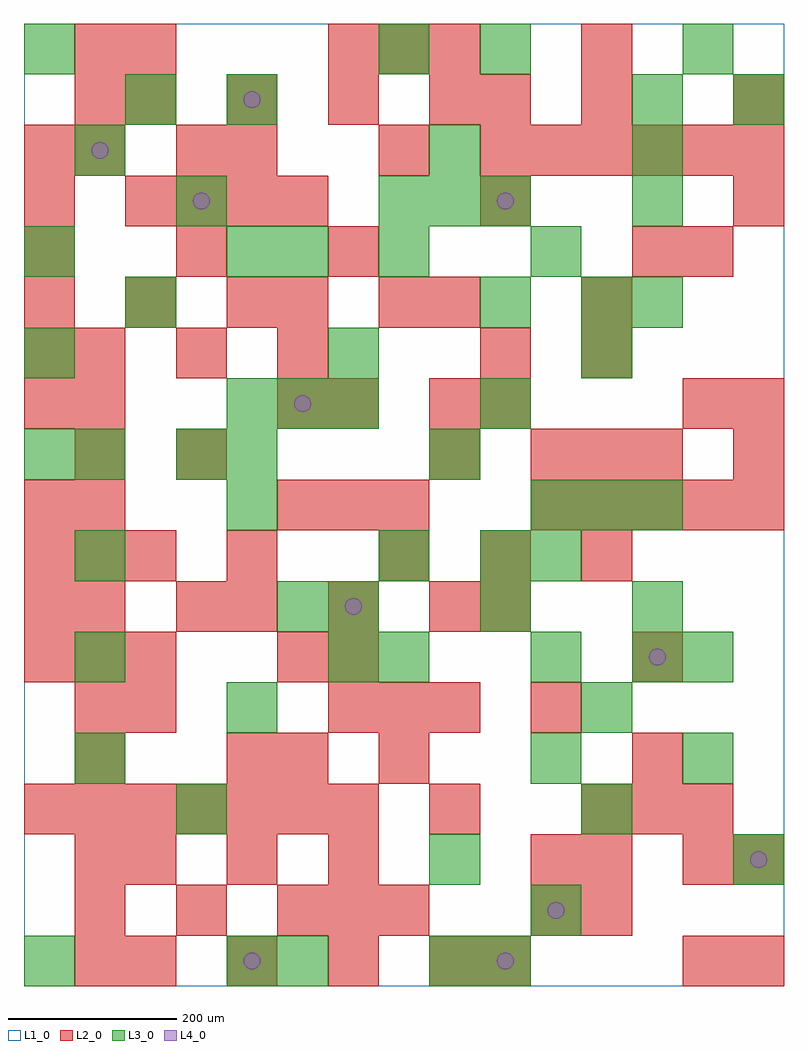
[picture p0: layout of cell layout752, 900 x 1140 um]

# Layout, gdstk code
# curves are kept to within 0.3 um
import gdstk
lib = gdstk.Library(unit=1e-6, precision=1e-09)
def R(c, l, rs):  # rectangles x0, y0, x1, y1
    for r in rs: c.add(gdstk.rectangle(r[:2], r[2:], *l))
def A(c, l, x, y, w, h, nx, ny, dx, dy):  # array of equal rectangles
    R(c, l, [(x+i*dx, y+j*dy, x+i*dx+w, y+j*dy+h) for i in range(nx) for j in range(ny)])
def P(c, l, *ps):  # polygons
    for p in ps: c.add(gdstk.Polygon(p, *l))
L1_0 = (1, 0)
L2_0 = (2, 0)
L3_0 = (3, 0)
L4_0 = (4, 0)

layout752 = lib.new_cell('layout752')
R(layout752, L1_0, [(0,0,900,1140)])
A(layout752, L2_0, 60, 0, 60, 60, 1, 3, 0, 120)
A(layout752, L2_0, 120, 0, 60, 60, 4, 2, 120, 1020)
A(layout752, L2_0, 60, 60, 60, 60, 3, 2, 120, 660)
A(layout752, L2_0, 360, 60, 60, 60, 1, 3, 0, 300)
A(layout752, L2_0, 120, 120, 60, 60, 3, 1, 120, 0)
A(layout752, L2_0, 0, 180, 60, 60, 7, 1, 60, 0)
A(layout752, L2_0, 660, 180, 60, 60, 3, 1, 60, 0)
A(layout752, L2_0, 60, 300, 60, 60, 1, 3, 0, 120)
A(layout752, L2_0, 360, 300, 60, 60, 3, 2, 60, 780)
A(layout752, L2_0, 0, 360, 60, 60, 3, 2, 60, 120)
A(layout752, L2_0, 0, 420, 60, 60, 1, 3, 0, 120)
A(layout752, L2_0, 240, 420, 60, 60, 3, 1, 120, 0)
A(layout752, L2_0, 420, 480, 60, 60, 3, 1, 120, 0)
A(layout752, L2_0, 300, 540, 60, 60, 3, 1, 60, 0)
A(layout752, L2_0, 600, 540, 60, 60, 5, 1, 60, 0)
A(layout752, L2_0, 600, 600, 60, 60, 3, 1, 60, 0)
A(layout752, L2_0, 0, 780, 60, 60, 3, 1, 120, 0)
A(layout752, L2_0, 0, 840, 60, 60, 3, 1, 180, 0)
A(layout752, L2_0, 120, 900, 60, 60, 4, 1, 60, 0)
A(layout752, L2_0, 60, 960, 60, 60, 1, 3, 0, 60)
A(layout752, L2_0, 540, 960, 60, 60, 6, 1, 60, 0)
R(layout752, L2_0, [(540,0,600,60), (780,0,840,60), (840,0,900,60), (420,60,480,120), (600,60,660,120), (660,60,720,120), (600,120,660,180), (660,120,720,180), (780,120,840,180), (840,120,900,180), (480,180,540,240), (240,240,300,300), (300,240,360,300), (420,240,480,300), (720,240,780,300), (120,300,180,360), (600,300,660,360), (300,360,360,420), (720,360,780,420), (180,420,240,480), (540,420,600,480), (240,480,300,540), (60,600,120,660), (180,600,240,660), (480,600,540,660), (840,600,900,660), (60,660,120,720), (300,660,360,720), (480,660,540,720), (540,660,600,720), (780,660,840,720), (840,660,900,720), (0,720,60,780), (540,720,600,780), (660,720,720,780), (300,780,360,840), (420,780,480,840), (480,780,540,840), (660,780,720,840), (720,840,780,900), (780,840,840,900), (0,900,60,960), (540,900,600,960), (840,900,900,960), (0,960,60,1020), (180,960,240,1020), (240,960,300,1020), (420,960,480,1020), (540,1020,600,1080), (660,1020,720,1080), (840,1020,900,1080), (120,1080,180,1140), (660,1080,720,1140)])
A(layout752, L3_0, 300, 0, 60, 60, 1, 3, 0, 420)
A(layout752, L3_0, 60, 240, 60, 60, 1, 4, 0, 120)
A(layout752, L3_0, 600, 240, 60, 60, 1, 3, 0, 120)
A(layout752, L3_0, 360, 420, 60, 60, 3, 1, 180, 0)
A(layout752, L3_0, 600, 540, 60, 60, 3, 1, 60, 0)
A(layout752, L3_0, 0, 600, 60, 60, 1, 3, 0, 120)
A(layout752, L3_0, 240, 660, 60, 60, 3, 1, 60, 0)
A(layout752, L3_0, 420, 900, 60, 60, 3, 1, 60, 0)
A(layout752, L3_0, 720, 900, 60, 60, 1, 3, 0, 60)
R(layout752, L3_0, [(0,0,60,60), (240,0,300,60), (480,0,540,60), (540,0,600,60), (600,60,660,120), (480,120,540,180), (840,120,900,180), (180,180,240,240), (660,180,720,240), (780,240,840,300), (240,300,300,360), (660,300,720,360), (360,360,420,420), (420,360,480,420), (720,360,780,420), (780,360,840,420), (420,480,480,540), (540,480,600,540), (240,540,300,600), (180,600,240,660), (240,600,300,660), (480,600,540,660), (540,660,600,720), (360,720,420,780), (660,720,720,780), (120,780,180,840), (540,780,600,840), (660,780,720,840), (720,780,780,840), (240,840,300,900), (420,840,480,900), (600,840,660,900), (180,900,240,960), (60,960,120,1020), (480,960,540,1020), (120,1020,180,1080), (240,1020,300,1080), (840,1020,900,1080), (0,1080,60,1140), (420,1080,480,1140), (540,1080,600,1140), (780,1080,840,1140)])
P(layout752, L4_0, [(100,990),(99.239,993.827),(97.071,997.071),(93.827,999.239),(90,1000),(86.173,999.239),(82.929,997.071),(80.761,993.827),(80,990),(80.761,986.173),(82.929,982.929),(86.173,980.761),(90,980),(93.827,980.761),(97.071,982.929),(99.239,986.173)],
  [(220,930),(219.239,933.827),(217.071,937.071),(213.827,939.239),(210,940),(206.173,939.239),(202.929,937.071),(200.761,933.827),(200,930),(200.761,926.173),(202.929,922.929),(206.173,920.761),(210,920),(213.827,920.761),(217.071,922.929),(219.239,926.173)],
  [(280,30),(279.239,33.827),(277.071,37.071),(273.827,39.239),(270,40),(266.173,39.239),(262.929,37.071),(260.761,33.827),(260,30),(260.761,26.173),(262.929,22.929),(266.173,20.761),(270,20),(273.827,20.761),(277.071,22.929),(279.239,26.173)],
  [(280,1050),(279.239,1053.827),(277.071,1057.071),(273.827,1059.239),(270,1060),(266.173,1059.239),(262.929,1057.071),(260.761,1053.827),(260,1050),(260.761,1046.173),(262.929,1042.929),(266.173,1040.761),(270,1040),(273.827,1040.761),(277.071,1042.929),(279.239,1046.173)],
  [(340,690),(339.239,693.827),(337.071,697.071),(333.827,699.239),(330,700),(326.173,699.239),(322.929,697.071),(320.761,693.827),(320,690),(320.761,686.173),(322.929,682.929),(326.173,680.761),(330,680),(333.827,680.761),(337.071,682.929),(339.239,686.173)],
  [(400,450),(399.239,453.827),(397.071,457.071),(393.827,459.239),(390,460),(386.173,459.239),(382.929,457.071),(380.761,453.827),(380,450),(380.761,446.173),(382.929,442.929),(386.173,440.761),(390,440),(393.827,440.761),(397.071,442.929),(399.239,446.173)],
  [(580,30),(579.239,33.827),(577.071,37.071),(573.827,39.239),(570,40),(566.173,39.239),(562.929,37.071),(560.761,33.827),(560,30),(560.761,26.173),(562.929,22.929),(566.173,20.761),(570,20),(573.827,20.761),(577.071,22.929),(579.239,26.173)],
  [(580,930),(579.239,933.827),(577.071,937.071),(573.827,939.239),(570,940),(566.173,939.239),(562.929,937.071),(560.761,933.827),(560,930),(560.761,926.173),(562.929,922.929),(566.173,920.761),(570,920),(573.827,920.761),(577.071,922.929),(579.239,926.173)],
  [(640,90),(639.239,93.827),(637.071,97.071),(633.827,99.239),(630,100),(626.173,99.239),(622.929,97.071),(620.761,93.827),(620,90),(620.761,86.173),(622.929,82.929),(626.173,80.761),(630,80),(633.827,80.761),(637.071,82.929),(639.239,86.173)],
  [(760,390),(759.239,393.827),(757.071,397.071),(753.827,399.239),(750,400),(746.173,399.239),(742.929,397.071),(740.761,393.827),(740,390),(740.761,386.173),(742.929,382.929),(746.173,380.761),(750,380),(753.827,380.761),(757.071,382.929),(759.239,386.173)],
  [(880,150),(879.239,153.827),(877.071,157.071),(873.827,159.239),(870,160),(866.173,159.239),(862.929,157.071),(860.761,153.827),(860,150),(860.761,146.173),(862.929,142.929),(866.173,140.761),(870,140),(873.827,140.761),(877.071,142.929),(879.239,146.173)])

lib.write_gds('layout752.gds')
